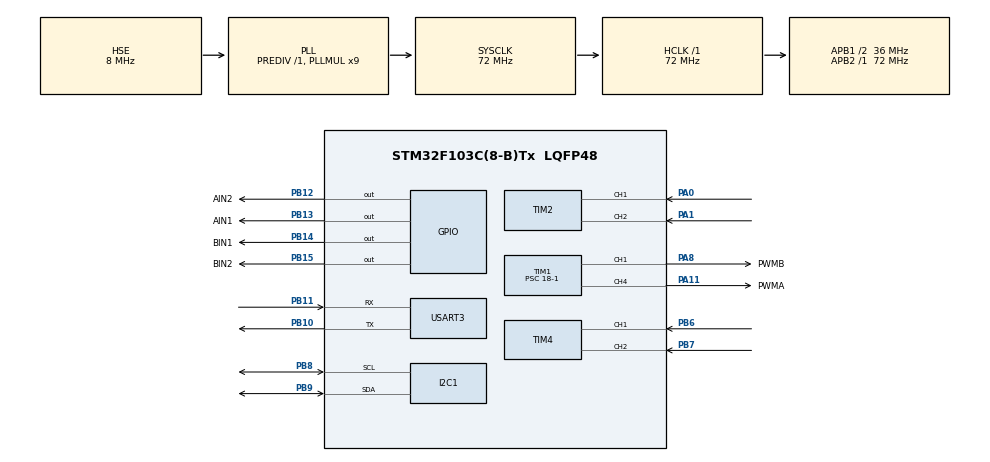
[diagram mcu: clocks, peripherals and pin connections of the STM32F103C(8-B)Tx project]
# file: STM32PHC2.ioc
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Dma.Request0=USART3_RX
Dma.Request1=USART3_TX
Dma.USART3_RX.0.Direction=DMA_PERIPH_TO_MEMORY
Dma.USART3_RX.0.Instance=DMA1_Channel3
Dma.USART3_RX.0.MemDataAlignment=DMA_MDATAALIGN_BYTE
Dma.USART3_RX.0.MemInc=DMA_MINC_ENABLE
Dma.USART3_RX.0.Mode=DMA_NORMAL
Dma.USART3_RX.0.PeriphDataAlignment=DMA_PDATAALIGN_BYTE
Dma.USART3_RX.0.PeriphInc=DMA_PINC_DISABLE
Dma.USART3_RX.0.Priority=DMA_PRIORITY_LOW
Dma.USART3_TX.1.Direction=DMA_MEMORY_TO_PERIPH
Dma.USART3_TX.1.Instance=DMA1_Channel2
Dma.USART3_TX.1.MemDataAlignment=DMA_MDATAALIGN_BYTE
Dma.USART3_TX.1.MemInc=DMA_MINC_ENABLE
Dma.USART3_TX.1.Mode=DMA_NORMAL
Dma.USART3_TX.1.PeriphDataAlignment=DMA_PDATAALIGN_BYTE
Dma.USART3_TX.1.PeriphInc=DMA_PINC_DISABLE
Dma.USART3_TX.1.Priority=DMA_PRIORITY_LOW
Mcu.Family=STM32F1
Mcu.Name=STM32F103C(8-B)Tx
Mcu.Package=LQFP48
NVIC.DMA1_Channel2_IRQn=true\:0\:0\:false\:false\:true\:false\:true\:true
NVIC.DMA1_Channel3_IRQn=true\:0\:0\:false\:false\:true\:false\:true\:true
NVIC.PriorityGroup=NVIC_PRIORITYGROUP_4
NVIC.TIM3_IRQn=true\:0\:0\:true\:false\:true\:true\:true\:true
NVIC.USART3_IRQn=true\:0\:0\:true\:false\:true\:false\:true\:true
PA0-WKUP.Signal=S_TIM2_CH1_ETR
PA1.Signal=S_TIM2_CH2
PA11.GPIO_Label=PWMA
PA11.Signal=S_TIM1_CH4
PA13.Mode=Serial_Wire
PA13.Signal=SYS_JTMS-SWDIO
PA14.Mode=Serial_Wire
PA14.Signal=SYS_JTCK-SWCLK
PA8.GPIO_Label=PWMB
PA8.Signal=S_TIM1_CH1
PB10.Mode=Asynchronous
PB10.Signal=USART3_TX
PB11.Mode=Asynchronous
PB11.Signal=USART3_RX
PB12.GPIO_Label=AIN2
PB12.Signal=GPIO_Output
PB13.GPIO_Label=AIN1
PB13.Signal=GPIO_Output
PB14.GPIO_Label=BIN1
PB14.Signal=GPIO_Output
PB15.GPIO_Label=BIN2
PB15.Signal=GPIO_Output
PB6.Signal=S_TIM4_CH1
PB7.Signal=S_TIM4_CH2
PB8.Mode=I2C
PB8.Signal=I2C1_SCL
PB9.Mode=I2C
PB9.Signal=I2C1_SDA
PD0-OSC_IN.Mode=HSE-External-Oscillator
PD0-OSC_IN.Signal=RCC_OSC_IN
PD1-OSC_OUT.Mode=HSE-External-Oscillator
PD1-OSC_OUT.Signal=RCC_OSC_OUT
ProjectManager.HeapSize=0x200
ProjectManager.StackSize=0x400
ProjectManager.TargetToolchain=MDK-ARM V5.32
RCC.AHBFreq_Value=72000000
RCC.APB1CLKDivider=RCC_HCLK_DIV2
RCC.APB1Freq_Value=36000000
RCC.APB1TimFreq_Value=72000000
RCC.APB2Freq_Value=72000000
RCC.APB2TimFreq_Value=72000000
RCC.HCLKFreq_Value=72000000
RCC.PLLMUL=RCC_PLL_MUL9
RCC.PLLSourceVirtual=RCC_PLLSOURCE_HSE
RCC.SYSCLKFreq_VALUE=72000000
RCC.SYSCLKSource=RCC_SYSCLKSOURCE_PLLCLK
RCC.USBFreq_Value=72000000
SH.S_TIM1_CH1.0=TIM1_CH1,PWM Generation1 CH1
SH.S_TIM1_CH4.0=TIM1_CH4,PWM Generation4 CH4
SH.S_TIM2_CH1_ETR.0=TIM2_CH1,Encoder_Interface
SH.S_TIM2_CH2.0=TIM2_CH2,Encoder_Interface
SH.S_TIM4_CH1.0=TIM4_CH1,Encoder_Interface
SH.S_TIM4_CH2.0=TIM4_CH2,Encoder_Interface
TIM1.Channel-PWM\ Generation1\ CH1=TIM_CHANNEL_1
TIM1.Channel-PWM\ Generation4\ CH4=TIM_CHANNEL_4
TIM1.Period=1000-1
TIM1.Prescaler=18-1
TIM2.EncoderMode=TIM_ENCODERMODE_TI12
TIM2.IC1Filter=15
TIM2.IC2Filter=15
TIM2.IC2Polarity=TIM_ICPOLARITY_RISING
TIM3.Period=100-1
TIM3.Prescaler=7200-1
TIM4.EncoderMode=TIM_ENCODERMODE_TI12
TIM4.IC1Filter=15
TIM4.IC2Filter=15
USART3.VirtualMode=VM_ASYNC
VP_TIM1_VS_ClockSourceINT.Mode=Internal
VP_TIM3_VS_ClockSourceINT.Mode=Internal
board=custom

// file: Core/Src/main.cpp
/* USER CODE BEGIN Header */
/**
 ******************************************************************************
 * @file           : main.c
 * @brief          : Main program body
 ******************************************************************************
 * @attention
 *
 * Copyright (c) 2025 STMicroelectronics.
 * All rights reserved.
 *
 * This software is licensed under terms that can be found in the LICENSE file
 * in the root directory of this software component.
 * If no LICENSE file comes with this software, it is provided AS-IS.
 *
 ******************************************************************************
 */
/* USER CODE END Header */
#include "main.h"
#include "dma.h"
#include "i2c.h"
#include "tim.h"
#include "usart.h"
#include "gpio.h"

/* USER CODE BEGIN Includes */
#include "MPU6050.h"
#include "520Motor.h"
#include "Kalman.h"

#include <stdio.h>
#include <string.h>
/* USER CODE END Includes */

/* USER CODE BEGIN PD */
MPU6050 PHC;
Motor_520 Left_Motor, Right_Motor;
float Pitch, ACC, Speed;
int16_t Left_Out, Right_Out;
int8_t Cnt = 0;
void HAL_TIM_PeriodElapsedCallback(TIM_HandleTypeDef *htim)
{
  if (htim == &htim3)
  {
    HAL_TIM_Base_Stop_IT(&htim3);
    PHC.get_ID();
    PHC.get_ACCEL();
    PHC.get_GYRO();
    PHC.Updata_TrueData();
    PHC.Updata_ACCAngle();

    ACC = PHC.get_ACC();
    Pitch = Kalman_fifter(PHC.TrueGYRO[0], PHC.ACCAngle[0], ACC);

    Left_Motor.Omega_Updata();
    Right_Motor.Omega_Updata();

    Speed = (Left_Motor.Get_Speed() + (-Right_Motor.Get_Speed()))/2.0f;

    Left_Motor.Set_Speed(Speed);
    Right_Motor.Set_Speed(-Speed);

    Left_Motor.PID_Angle.Set_GYRO(PHC.TrueGYRO[0]);
    Right_Motor.PID_Angle.Set_GYRO(PHC.TrueGYRO[0]);

    Left_Motor.Angle_Updata(Pitch);
    Right_Motor.Angle_Updata(Pitch);

    // Left_Motor.PID_Angle.Set_Target(0.0f);      //记得加个死区，KLM得调，趋近有点慢
    // Right_Motor.PID_Angle.Set_Target(0.0f);

    // sprintf(mes,"%f\n\r",Pitch);
    // HAL_UART_Transmit_DMA(&huart3,(uint8_t *)mes,strlen(mes));
    Left_Motor.Calculate_PID();
    //Right_Motor.Calculate_PID();

    Left_Out = Left_Motor.Get_Out();
    Right_Out = Left_Motor.Get_Out();
    if (Left_Out > 0)
    {
      HAL_GPIO_WritePin(AIN1_GPIO_Port, AIN1_Pin, GPIO_PIN_SET);
      HAL_GPIO_WritePin(AIN2_GPIO_Port, AIN2_Pin, GPIO_PIN_RESET);

      Left_Out += 37; //21
    }
    else
    {
      HAL_GPIO_WritePin(AIN1_GPIO_Port, AIN1_Pin, GPIO_PIN_RESET);
      HAL_GPIO_WritePin(AIN2_GPIO_Port, AIN2_Pin, GPIO_PIN_SET);

      Left_Out = -Left_Out + 35;  //25
    }
    if (Right_Out > 0)
    {
      HAL_GPIO_WritePin(BIN1_GPIO_Port, BIN1_Pin, GPIO_PIN_SET);
      HAL_GPIO_WritePin(BIN2_GPIO_Port, BIN2_Pin, GPIO_PIN_RESET);

      Right_Out += 32;      //26
    }
    else
    {
      HAL_GPIO_WritePin(BIN1_GPIO_Port, BIN1_Pin, GPIO_PIN_RESET);
      HAL_GPIO_WritePin(BIN2_GPIO_Port, BIN2_Pin, GPIO_PIN_SET);

      Right_Out = -Right_Out + 34;  //30
    }
    __HAL_TIM_SetCompare(&htim1,TIM_CHANNEL_1,Right_Out);   //R
    __HAL_TIM_SetCompare(&htim1,TIM_CHANNEL_4,Left_Out);   //L
  }

  HAL_TIM_Base_Start_IT(&htim3);
}
/* USER CODE END PD */

void SystemClock_Config(void);

int PWM = 26;

// L 25
// R 30

int main(void)
{

  /* MCU Configuration--------------------------------------------------------*/

  /* Reset of all peripherals, Initializes the Flash interface and the Systick. */
  HAL_Init();

  /* Configure the system clock */
  SystemClock_Config();

  /* Initialize all configured peripherals */
  MX_GPIO_Init();
  MX_DMA_Init();
  MX_TIM1_Init();
  MX_TIM2_Init();
  MX_TIM4_Init();
  MX_USART3_UART_Init();
  MX_TIM3_Init();
  MX_I2C1_Init();
  /* USER CODE BEGIN 2 */

  PHC.MPU6050_Init(&hi2c1);
  PHC.MPU6050_ACC_Calibration();
  PHC.MPU6050_GYRO_Calibration();

  Left_Motor.Init(&htim2);
  Right_Motor.Init(&htim4);

  Left_Motor.PID_Omega.Init(-6.2f, -6.2 / 200.0f, 8.0f, 2); // 加个KD，有抖动，目前KP，KI越大，越快稳定，但抖动会加大
  //Left_Motor.PID_Omega.Init(0.0f, 0.0f, 0.0f, 2);
  Left_Motor.PID_Angle.Init(-35.8*0.6f, 0.0f, 4.0*0.6f, 1);
  Right_Motor.PID_Omega.Init(0.0f, 0.0f, 0.0f, 2);
  Right_Motor.PID_Angle.Init(-0.0f, 0.0f, 0.0f, 1);
  //Right_Motor.PID_Angle.Init(-46.8*0.6f, -0.0f, 0.9*0.6f);

  // Left_Motor.PID_Angle.Init(-0.0f, -0.0f, 0.0f);
  // Right_Motor.PID_Angle.Init(-0.0f, -0.0f, 0.0f);

  HAL_TIM_PWM_Start(&htim1, TIM_CHANNEL_1);
  HAL_TIM_PWM_Start(&htim1, TIM_CHANNEL_4);
  HAL_TIM_Encoder_Start(&htim2, TIM_CHANNEL_ALL);
  HAL_TIM_Encoder_Start(&htim4, TIM_CHANNEL_ALL);

  HAL_TIM_Base_Start_IT(&htim3);

  // Left_Motor.PID_Omega.Set_Target(0.0f);
  // Right -1
  // 正转
  HAL_GPIO_WritePin(AIN1_GPIO_Port, AIN1_Pin, GPIO_PIN_RESET);
  HAL_GPIO_WritePin(AIN2_GPIO_Port, AIN2_Pin, GPIO_PIN_SET);

  // 正转 R
  HAL_GPIO_WritePin(BIN1_GPIO_Port, BIN1_Pin, GPIO_PIN_RESET);
  HAL_GPIO_WritePin(BIN2_GPIO_Port, BIN2_Pin, GPIO_PIN_SET);

  __HAL_TIM_SetCompare(&htim1,TIM_CHANNEL_1,36);   //R
  __HAL_TIM_SetCompare(&htim1,TIM_CHANNEL_4,40);   //L
  /* USER CODE END 2 */

  /* Infinite loop */
  while (1)
  {

  }
}

void SystemClock_Config(void)
{
  RCC_OscInitTypeDef RCC_OscInitStruct = {0};
  RCC_ClkInitTypeDef RCC_ClkInitStruct = {0};

  /** Initializes the RCC Oscillators according to the specified parameters
   * in the RCC_OscInitTypeDef structure.
   */
  RCC_OscInitStruct.OscillatorType = RCC_OSCILLATORTYPE_HSE;
  RCC_OscInitStruct.HSEState = RCC_HSE_ON;
  RCC_OscInitStruct.HSEPredivValue = RCC_HSE_PREDIV_DIV1;
  RCC_OscInitStruct.HSIState = RCC_HSI_ON;
  RCC_OscInitStruct.PLL.PLLState = RCC_PLL_ON;
  RCC_OscInitStruct.PLL.PLLSource = RCC_PLLSOURCE_HSE;
  RCC_OscInitStruct.PLL.PLLMUL = RCC_PLL_MUL9;
  if (HAL_RCC_OscConfig(&RCC_OscInitStruct) != HAL_OK)
  {
    Error_Handler();
  }

  /** Initializes the CPU, AHB and APB buses clocks
   */
  RCC_ClkInitStruct.ClockType = RCC_CLOCKTYPE_HCLK | RCC_CLOCKTYPE_SYSCLK | RCC_CLOCKTYPE_PCLK1 | RCC_CLOCKTYPE_PCLK2;
  RCC_ClkInitStruct.SYSCLKSource = RCC_SYSCLKSOURCE_PLLCLK;
  RCC_ClkInitStruct.AHBCLKDivider = RCC_SYSCLK_DIV1;
  RCC_ClkInitStruct.APB1CLKDivider = RCC_HCLK_DIV2;
  RCC_ClkInitStruct.APB2CLKDivider = RCC_HCLK_DIV1;

  if (HAL_RCC_ClockConfig(&RCC_ClkInitStruct, FLASH_LATENCY_2) != HAL_OK)
  {
    Error_Handler();
  }
}

void Error_Handler(void)
{
  __disable_irq();
  while (1)
  {
  }
}
